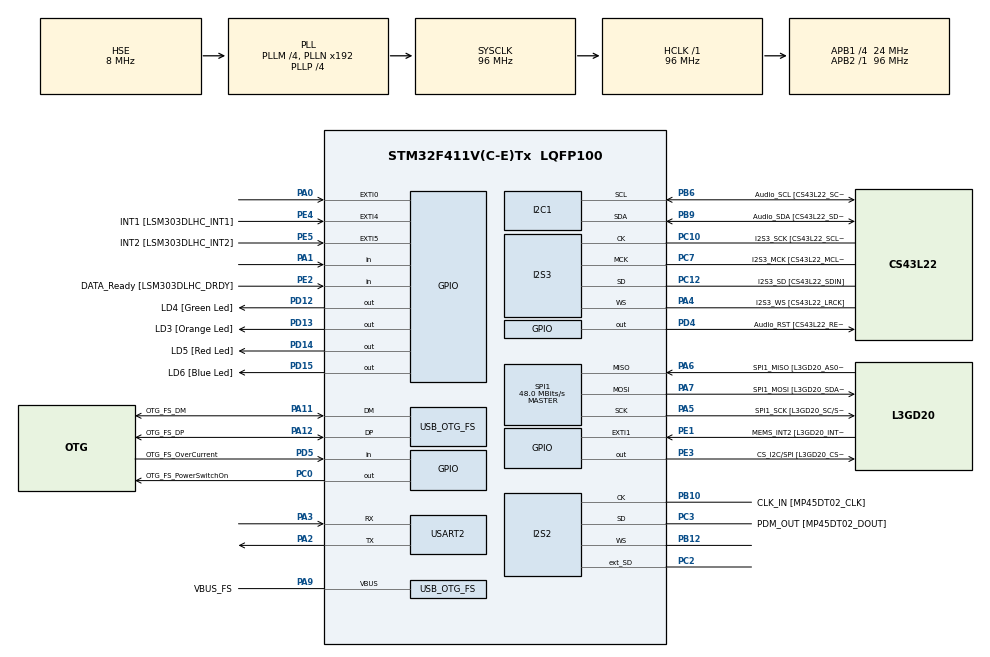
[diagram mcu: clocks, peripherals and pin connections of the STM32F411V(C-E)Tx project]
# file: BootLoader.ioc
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I2S2.AudioFreq=I2S_AUDIOFREQ_96K
I2S2.ErrorAudioFreq=0.15 %
I2S2.FullDuplexMode=I2S_FULLDUPLEXMODE_ENABLE
I2S2.Instance=SPI$Index
I2S2.RealAudioFreq=96.153 KHz
I2S2.VirtualMode=I2S_MODE_MASTER
I2S3.AudioFreq=I2S_AUDIOFREQ_96K
I2S3.ErrorAudioFreq=-6.99 %
I2S3.FullDuplexMode=I2S_FULLDUPLEXMODE_DISABLE
I2S3.Instance=SPI$Index
I2S3.RealAudioFreq=89.285 KHz
I2S3.VirtualMode=I2S_MODE_MASTER
Mcu.Family=STM32F4
Mcu.Name=STM32F411V(C-E)Tx
Mcu.Package=LQFP100
NVIC.OTG_FS_IRQn=true\:0\:0\:false\:false\:true\:true\:true\:true
NVIC.PriorityGroup=NVIC_PRIORITYGROUP_4
NVIC.TIM1_UP_TIM10_IRQn=true\:15\:0\:false\:false\:true\:false\:true\:true
NVIC.TimeBase=TIM1_UP_TIM10_IRQn
NVIC.TimeBaseIP=TIM1
PA0-WKUP.GPIO_ModeDefaultEXTI=GPIO_MODE_EVT_RISING
PA0-WKUP.Signal=GPXTI0
PA1.GPIO_PuPd=GPIO_PULLUP
PA1.Signal=GPIO_Input
PA10.GPIO_Label=OTG_FS_ID
PA10.Signal=USB_OTG_FS_ID
PA11.GPIO_Label=OTG_FS_DM
PA11.Mode=Host_Only
PA11.Signal=USB_OTG_FS_DM
PA12.GPIO_Label=OTG_FS_DP
PA12.Mode=Host_Only
PA12.Signal=USB_OTG_FS_DP
PA13.GPIO_Label=SWDIO
PA13.Mode=Serial_Wire
PA13.Signal=SYS_JTMS-SWDIO
PA14.GPIO_Label=SWCLK
PA14.Mode=Serial_Wire
PA14.Signal=SYS_JTCK-SWCLK
PA2.Mode=Asynchronous
PA2.Signal=USART2_TX
PA3.Mode=Asynchronous
PA3.Signal=USART2_RX
PA4.GPIO_Label=I2S3_WS [CS43L22_LRCK]
PA4.GPIO_Mode=GPIO_MODE_AF_PP
PA4.GPIO_PuPd=GPIO_NOPULL
PA4.GPIO_Speed=GPIO_SPEED_FREQ_LOW
PA4.Mode=Half_Duplex_Master
PA4.Signal=I2S3_WS
PA5.GPIO_Label=SPI1_SCK [L3GD20_SC/SPC]
PA5.Mode=Full_Duplex_Master
PA5.Signal=SPI1_SCK
PA6.GPIO_Label=SPI1_MISO [L3GD20_AS0/SDO]
PA6.Mode=Full_Duplex_Master
PA6.Signal=SPI1_MISO
PA7.GPIO_Label=SPI1_MOSI [L3GD20_SDA/SDI/SDO]
PA7.Mode=Full_Duplex_Master
PA7.Signal=SPI1_MOSI
PA9.GPIO_Label=VBUS_FS
PA9.Mode=Activate_VBUS
PA9.Signal=USB_OTG_FS_VBUS
PB10.GPIO_Label=CLK_IN [MP45DT02_CLK]
PB10.Mode=Full_Duplex_Master
PB10.Signal=I2S2_CK
PB12.Mode=Full_Duplex_Master
PB12.Signal=I2S2_WS
PB3.GPIO_Label=SWO
PB3.Signal=SYS_JTDO-SWO
PB6.GPIO_Label=Audio_SCL [CS43L22_SCL]
PB6.GPIO_Mode=GPIO_MODE_AF_OD
PB6.GPIO_Pu=GPIO_PULLUP
PB6.GPIO_PuPd=GPIO_NOPULL
PB6.GPIO_Speed=GPIO_SPEED_FREQ_LOW
PB6.Mode=I2C
PB6.Signal=I2C1_SCL
PB9.GPIO_Label=Audio_SDA [CS43L22_SDA]
PB9.GPIO_Mode=GPIO_MODE_AF_OD
PB9.GPIO_Pu=GPIO_PULLUP
PB9.GPIO_PuPd=GPIO_NOPULL
PB9.GPIO_Speed=GPIO_SPEED_FREQ_LOW
PB9.Mode=I2C
PB9.Signal=I2C1_SDA
PC0.GPIO_Label=OTG_FS_PowerSwitchOn
PC0.PinState=GPIO_PIN_SET
PC0.Signal=GPIO_Output
PC10.GPIO_Label=I2S3_SCK [CS43L22_SCLK]
PC10.GPIO_Mode=GPIO_MODE_AF_PP
PC10.GPIO_PuPd=GPIO_NOPULL
PC10.GPIO_Speed=GPIO_SPEED_FREQ_LOW
PC10.Mode=Half_Duplex_Master
PC10.Signal=I2S3_CK
PC12.GPIO_Label=I2S3_SD [CS43L22_SDIN]
PC12.GPIO_Mode=GPIO_MODE_AF_PP
PC12.GPIO_PuPd=GPIO_NOPULL
PC12.GPIO_Speed=GPIO_SPEED_FREQ_LOW
PC12.Mode=Half_Duplex_Master
PC12.Signal=I2S3_SD
PC14-OSC32_IN.GPIO_Label=PC14-OSC32_IN
PC14-OSC32_IN.Mode=LSE-External-Oscillator
PC14-OSC32_IN.Signal=RCC_OSC32_IN
PC15-OSC32_OUT.GPIO_Label=PC15-OSC32_OUT
PC15-OSC32_OUT.Mode=LSE-External-Oscillator
PC15-OSC32_OUT.Signal=RCC_OSC32_OUT
PC2.Mode=Full_Duplex_Master
PC2.Signal=I2S2_ext_SD
PC3.GPIO_Label=PDM_OUT [MP45DT02_DOUT]
PC3.Mode=Full_Duplex_Master
PC3.Signal=I2S2_SD
PC7.GPIO_Label=I2S3_MCK [CS43L22_MCLK]
PC7.GPIO_Mode=GPIO_MODE_AF_PP
PC7.GPIO_PuPd=GPIO_NOPULL
PC7.GPIO_Speed=GPIO_SPEED_FREQ_LOW
PC7.Mode=Master_Clock_Activated
PC7.Signal=I2S3_MCK
PD12.GPIO_Label=LD4 [Green Led]
PD12.GPIO_PuPd=GPIO_NOPULL
PD12.GPIO_Speed=GPIO_SPEED_FREQ_LOW
PD12.Signal=GPIO_Output
PD13.GPIO_Label=LD3 [Orange Led]
PD13.GPIO_PuPd=GPIO_NOPULL
PD13.GPIO_Speed=GPIO_SPEED_FREQ_LOW
PD13.Signal=GPIO_Output
PD14.GPIO_Label=LD5 [Red Led]
PD14.GPIO_PuPd=GPIO_NOPULL
PD14.GPIO_Speed=GPIO_SPEED_FREQ_LOW
PD14.Signal=GPIO_Output
PD15.GPIO_Label=LD6 [Blue Led]
PD15.GPIO_PuPd=GPIO_NOPULL
PD15.GPIO_Speed=GPIO_SPEED_FREQ_LOW
PD15.Signal=GPIO_Output
PD4.GPIO_Label=Audio_RST [CS43L22_RESET]
PD4.Signal=GPIO_Output
PD5.GPIO_Label=OTG_FS_OverCurrent
PD5.Signal=GPIO_Input
PE1.GPIO_Label=MEMS_INT2 [L3GD20_INT2]
PE1.GPIO_ModeDefaultEXTI=GPIO_MODE_EVT_RISING
PE1.Signal=GPXTI1
PE2.GPIO_Label=DATA_Ready [LSM303DLHC_DRDY]
PE2.Signal=GPIO_Input
PE3.GPIO_Label=CS_I2C/SPI [L3GD20_CS_I2C/SPI]
PE3.Signal=GPIO_Output
PE4.GPIO_Label=INT1 [LSM303DLHC_INT1]
PE4.GPIO_ModeDefaultEXTI=GPIO_MODE_EVT_RISING
PE4.Signal=GPXTI4
PE5.GPIO_Label=INT2 [LSM303DLHC_INT2]
PE5.GPIO_ModeDefaultEXTI=GPIO_MODE_EVT_RISING
PE5.Signal=GPXTI5
PH0\ -\ OSC_IN.GPIO_Label=PH0-OSC_IN
PH0\ -\ OSC_IN.Mode=HSE-External-Clock-Source
PH0\ -\ OSC_IN.Signal=RCC_OSC_IN
PH1\ -\ OSC_OUT.GPIO_Label=PH1-OSC_OUT
PH1\ -\ OSC_OUT.Mode=HSE-External-Clock-Source
PH1\ -\ OSC_OUT.Signal=RCC_OSC_OUT
ProjectManager.HeapSize=0x200
ProjectManager.StackSize=0x400
ProjectManager.TargetToolchain=STM32CubeIDE
RCC.48MHZClocksFreq_Value=48000000
RCC.AHBFreq_Value=96000000
RCC.APB1CLKDivider=RCC_HCLK_DIV4
RCC.APB1Freq_Value=24000000
RCC.APB1TimFreq_Value=48000000
RCC.APB2Freq_Value=96000000
RCC.APB2TimFreq_Value=96000000
RCC.CortexFreq_Value=96000000
RCC.HCLKFreq_Value=96000000
RCC.HSE_VALUE=8000000
RCC.HSI_VALUE=16000000
RCC.PLLI2SM=5
RCC.PLLI2SN=200
RCC.PLLM=4
RCC.PLLP=RCC_PLLP_DIV4
RCC.PLLQ=8
RCC.SYSCLKFreq_VALUE=96000000
RCC.SYSCLKSource=RCC_SYSCLKSOURCE_PLLCLK
RCC.VCOOutputFreq_Value=384000000
SPI1.BaudRatePrescaler=SPI_BAUDRATEPRESCALER_2
SPI1.CalculateBaudRate=48.0 MBits/s
SPI1.Direction=SPI_DIRECTION_2LINES
SPI1.Mode=SPI_MODE_MASTER
SPI1.VirtualType=VM_MASTER
USART2.VirtualMode=VM_ASYNC
USB_HOST.BSP.number=1
USB_HOST.USBH_HandleTypeDef=hUsbHostFS
USB_HOST.USBH_USE_OS-CDC_FS=0
USB_HOST.VirtualModeFS=Cdc
USB_HOST0.BSP.STBoard=false
USB_HOST0.BSP.api=Unknown
USB_HOST0.BSP.instance=PC0
USB_HOST0.BSP.ip=GPIO
USB_HOST0.BSP.mode=Output
USB_HOST0.BSP.name=Drive_VBUS_FS
USB_HOST0.BSP.solution=PC0
USB_OTG_FS.VirtualMode=Host_Only
USB_OTG_FS.phy_itface=HCD_PHY_EMBEDDED
VP_SYS_VS_tim1.Mode=TIM1
VP_USB_HOST_VS_USB_HOST_CDC_FS.Mode=CDC_FS
board=STM32F411E-DISCO

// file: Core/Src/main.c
/* USER CODE BEGIN Header */
/**
  ******************************************************************************
  * @file           : main.c
  * @brief          : Main program body
  ******************************************************************************
  * @attention
  *
  * Copyright (c) 2025 STMicroelectronics.
  * All rights reserved.
  *
  * This software is licensed under terms that can be found in the LICENSE file
  * in the root directory of this software component.
  * If no LICENSE file comes with this software, it is provided AS-IS.
  *
  ******************************************************************************
  */
/* USER CODE END Header */
#include "main.h"
#include "usb_host.h"

/* USER CODE BEGIN Includes */
#include "stdbool.h"
#include "stdio.h"
/* USER CODE END Includes */

/* USER CODE BEGIN PTD */

typedef void(*func_ptr)(void);
/* USER CODE END PTD */

/* USER CODE BEGIN PD */
#define SECTOR0_BASE_ADDRESS 0x08000000/* BootLoader Sector*/
#define SECTOR1_BASE_ADDRESS 0x08004000/* Default Application Sector*/
#define SECTOR2_BASE_ADDRESS 0x08008000/* Factory Application Sector*/
#define SECTOR3_BASE_ADDRESS 0x0800C000/* EXPAND Application Sector*/

#define BOOTLOADER_APP_ADDRESS SECTOR0_BASE_ADDRESS
#define DEFAULT_APP_ADDRESS    SECTOR1_BASE_ADDRESS
#define FACTORY_APP_ADDRESS    SECTOR2_BASE_ADDRESS
#define EXPAND_APP_ADDRESS    SECTOR3_BASE_ADDRESS

#define MSP_VERIFY_MASK 0x2FFE0000 /* main stack pointer mask */

#define BUTTON_USER_Pin GPIO_PIN_1
#define BUTTON_USER_GPIO_Port GPIOA
/* USER CODE END PD */

I2C_HandleTypeDef hi2c1;

I2S_HandleTypeDef hi2s2;
I2S_HandleTypeDef hi2s3;

SPI_HandleTypeDef hspi1;

UART_HandleTypeDef huart2;

/* USER CODE BEGIN PV */
unsigned char g_key;
/* USER CODE END PV */

void SystemClock_Config(void);
void PeriphCommonClock_Config(void);
static void MX_GPIO_Init(void);
static void MX_I2C1_Init(void);
static void MX_I2S2_Init(void);
static void MX_I2S3_Init(void);
static void MX_SPI1_Init(void);
static void MX_USART2_UART_Init(void);
void MX_USB_HOST_Process(void);

/* USER CODE BEGIN 0 */
static bool get_button_state(void);
static void jump_to_app(uint32_t address);
static void process_btldr_cmds(char key);
/* USER CODE END 0 */

int main(void)
{

  /* MCU Configuration--------------------------------------------------------*/

  /* Reset of all peripherals, Initializes the Flash interface and the Systick. */
  HAL_Init();

  /* Configure the system clock */
  SystemClock_Config();

  /* Configure the peripherals common clocks */
  PeriphCommonClock_Config();

  /* Initialize all configured peripherals */
  MX_GPIO_Init();
  MX_I2C1_Init();
  MX_I2S2_Init();
  MX_I2S3_Init();
  MX_SPI1_Init();
  MX_USB_HOST_Init();
  MX_USART2_UART_Init();
  /* USER CODE BEGIN 2 */
  if(get_button_state()){
		//button is pressed
		printf("DBG: button is pressed");

		printf("===========================\n");
		printf("===========================\n");
		printf("===========================\n");
		printf("===========================\n");

		printf("===========================\n");
		printf("\n");
		printf("BootLoader Menu\n");
		printf("\n");
		printf("===========================\n");
		printf("===========================\n");
		printf("===========================\n");

		printf("Available commands: \n");
		printf("f ==> Factory App");
		printf("Any Key ==> run Default App");

		while(1){
			process_btldr_cmds(g_key);
		}
  }else {
	  //button isn't pressed
	  jump_to_app(DEFAULT_APP_ADDRESS);
  }
  /* USER CODE END 2 */

  /* Infinite loop */
  while (1)
  {
    MX_USB_HOST_Process();

  }
}

void SystemClock_Config(void)
{
  RCC_OscInitTypeDef RCC_OscInitStruct = {0};
  RCC_ClkInitTypeDef RCC_ClkInitStruct = {0};

  /** Configure the main internal regulator output voltage
  */
  __HAL_RCC_PWR_CLK_ENABLE();
  __HAL_PWR_VOLTAGESCALING_CONFIG(PWR_REGULATOR_VOLTAGE_SCALE1);

  /** Initializes the RCC Oscillators according to the specified parameters
  * in the RCC_OscInitTypeDef structure.
  */
  RCC_OscInitStruct.OscillatorType = RCC_OSCILLATORTYPE_HSE;
  RCC_OscInitStruct.HSEState = RCC_HSE_BYPASS;
  RCC_OscInitStruct.PLL.PLLState = RCC_PLL_ON;
  RCC_OscInitStruct.PLL.PLLSource = RCC_PLLSOURCE_HSE;
  RCC_OscInitStruct.PLL.PLLM = 4;
  RCC_OscInitStruct.PLL.PLLN = 192;
  RCC_OscInitStruct.PLL.PLLP = RCC_PLLP_DIV4;
  RCC_OscInitStruct.PLL.PLLQ = 8;
  if (HAL_RCC_OscConfig(&RCC_OscInitStruct) != HAL_OK)
  {
    Error_Handler();
  }

  /** Initializes the CPU, AHB and APB buses clocks
  */
  RCC_ClkInitStruct.ClockType = RCC_CLOCKTYPE_HCLK|RCC_CLOCKTYPE_SYSCLK
                              |RCC_CLOCKTYPE_PCLK1|RCC_CLOCKTYPE_PCLK2;
  RCC_ClkInitStruct.SYSCLKSource = RCC_SYSCLKSOURCE_PLLCLK;
  RCC_ClkInitStruct.AHBCLKDivider = RCC_SYSCLK_DIV1;
  RCC_ClkInitStruct.APB1CLKDivider = RCC_HCLK_DIV4;
  RCC_ClkInitStruct.APB2CLKDivider = RCC_HCLK_DIV1;

  if (HAL_RCC_ClockConfig(&RCC_ClkInitStruct, FLASH_LATENCY_3) != HAL_OK)
  {
    Error_Handler();
  }
}

void PeriphCommonClock_Config(void)
{
  RCC_PeriphCLKInitTypeDef PeriphClkInitStruct = {0};

  /** Initializes the peripherals clock
  */
  PeriphClkInitStruct.PeriphClockSelection = RCC_PERIPHCLK_I2S;
  PeriphClkInitStruct.PLLI2S.PLLI2SN = 200;
  PeriphClkInitStruct.PLLI2S.PLLI2SM = 5;
  PeriphClkInitStruct.PLLI2S.PLLI2SR = 2;
  if (HAL_RCCEx_PeriphCLKConfig(&PeriphClkInitStruct) != HAL_OK)
  {
    Error_Handler();
  }
}

static void MX_I2C1_Init(void)
{

  hi2c1.Instance = I2C1;
  hi2c1.Init.ClockSpeed = 100000;
  hi2c1.Init.DutyCycle = I2C_DUTYCYCLE_2;
  hi2c1.Init.OwnAddress1 = 0;
  hi2c1.Init.AddressingMode = I2C_ADDRESSINGMODE_7BIT;
  hi2c1.Init.DualAddressMode = I2C_DUALADDRESS_DISABLE;
  hi2c1.Init.OwnAddress2 = 0;
  hi2c1.Init.GeneralCallMode = I2C_GENERALCALL_DISABLE;
  hi2c1.Init.NoStretchMode = I2C_NOSTRETCH_DISABLE;
  if (HAL_I2C_Init(&hi2c1) != HAL_OK)
  {
    Error_Handler();
  }

}

static void MX_I2S2_Init(void)
{

  hi2s2.Instance = SPI2;
  hi2s2.Init.Mode = I2S_MODE_MASTER_TX;
  hi2s2.Init.Standard = I2S_STANDARD_PHILIPS;
  hi2s2.Init.DataFormat = I2S_DATAFORMAT_16B;
  hi2s2.Init.MCLKOutput = I2S_MCLKOUTPUT_DISABLE;
  hi2s2.Init.AudioFreq = I2S_AUDIOFREQ_96K;
  hi2s2.Init.CPOL = I2S_CPOL_LOW;
  hi2s2.Init.ClockSource = I2S_CLOCK_PLL;
  hi2s2.Init.FullDuplexMode = I2S_FULLDUPLEXMODE_ENABLE;
  if (HAL_I2S_Init(&hi2s2) != HAL_OK)
  {
    Error_Handler();
  }

}

static void MX_I2S3_Init(void)
{

  hi2s3.Instance = SPI3;
  hi2s3.Init.Mode = I2S_MODE_MASTER_TX;
  hi2s3.Init.Standard = I2S_STANDARD_PHILIPS;
  hi2s3.Init.DataFormat = I2S_DATAFORMAT_16B;
  hi2s3.Init.MCLKOutput = I2S_MCLKOUTPUT_ENABLE;
  hi2s3.Init.AudioFreq = I2S_AUDIOFREQ_96K;
  hi2s3.Init.CPOL = I2S_CPOL_LOW;
  hi2s3.Init.ClockSource = I2S_CLOCK_PLL;
  hi2s3.Init.FullDuplexMode = I2S_FULLDUPLEXMODE_DISABLE;
  if (HAL_I2S_Init(&hi2s3) != HAL_OK)
  {
    Error_Handler();
  }

}

static void MX_SPI1_Init(void)
{

  /* SPI1 parameter configuration*/
  hspi1.Instance = SPI1;
  hspi1.Init.Mode = SPI_MODE_MASTER;
  hspi1.Init.Direction = SPI_DIRECTION_2LINES;
  hspi1.Init.DataSize = SPI_DATASIZE_8BIT;
  hspi1.Init.CLKPolarity = SPI_POLARITY_LOW;
  hspi1.Init.CLKPhase = SPI_PHASE_1EDGE;
  hspi1.Init.NSS = SPI_NSS_SOFT;
  hspi1.Init.BaudRatePrescaler = SPI_BAUDRATEPRESCALER_2;
  hspi1.Init.FirstBit = SPI_FIRSTBIT_MSB;
  hspi1.Init.TIMode = SPI_TIMODE_DISABLE;
  hspi1.Init.CRCCalculation = SPI_CRCCALCULATION_DISABLE;
  hspi1.Init.CRCPolynomial = 10;
  if (HAL_SPI_Init(&hspi1) != HAL_OK)
  {
    Error_Handler();
  }

}

static void MX_USART2_UART_Init(void)
{

  huart2.Instance = USART2;
  huart2.Init.BaudRate = 115200;
  huart2.Init.WordLength = UART_WORDLENGTH_8B;
  huart2.Init.StopBits = UART_STOPBITS_1;
  huart2.Init.Parity = UART_PARITY_NONE;
  huart2.Init.Mode = UART_MODE_TX_RX;
  huart2.Init.HwFlowCtl = UART_HWCONTROL_NONE;
  huart2.Init.OverSampling = UART_OVERSAMPLING_16;
  if (HAL_UART_Init(&huart2) != HAL_OK)
  {
    Error_Handler();
  }

}

static void MX_GPIO_Init(void)
{
  GPIO_InitTypeDef GPIO_InitStruct = {0};

  /* GPIO Ports Clock Enable */
  __HAL_RCC_GPIOE_CLK_ENABLE();
  __HAL_RCC_GPIOC_CLK_ENABLE();
  __HAL_RCC_GPIOH_CLK_ENABLE();
  __HAL_RCC_GPIOA_CLK_ENABLE();
  __HAL_RCC_GPIOB_CLK_ENABLE();
  __HAL_RCC_GPIOD_CLK_ENABLE();

  /*Configure GPIO pin Output Level */
  HAL_GPIO_WritePin(CS_I2C_SPI_GPIO_Port, CS_I2C_SPI_Pin, GPIO_PIN_RESET);

  /*Configure GPIO pin Output Level */
  HAL_GPIO_WritePin(OTG_FS_PowerSwitchOn_GPIO_Port, OTG_FS_PowerSwitchOn_Pin, GPIO_PIN_SET);

  /*Configure GPIO pin Output Level */
  HAL_GPIO_WritePin(GPIOD, LD4_Pin|LD3_Pin|LD5_Pin|LD6_Pin
                          |Audio_RST_Pin, GPIO_PIN_RESET);

  /*Configure GPIO pin : DATA_Ready_Pin */
  GPIO_InitStruct.Pin = DATA_Ready_Pin;
  GPIO_InitStruct.Mode = GPIO_MODE_INPUT;
  GPIO_InitStruct.Pull = GPIO_NOPULL;
  HAL_GPIO_Init(DATA_Ready_GPIO_Port, &GPIO_InitStruct);

  /*Configure GPIO pin : CS_I2C_SPI_Pin */
  GPIO_InitStruct.Pin = CS_I2C_SPI_Pin;
  GPIO_InitStruct.Mode = GPIO_MODE_OUTPUT_PP;
  GPIO_InitStruct.Pull = GPIO_NOPULL;
  GPIO_InitStruct.Speed = GPIO_SPEED_FREQ_LOW;
  HAL_GPIO_Init(CS_I2C_SPI_GPIO_Port, &GPIO_InitStruct);

  /*Configure GPIO pins : INT1_Pin INT2_Pin MEMS_INT2_Pin */
  GPIO_InitStruct.Pin = INT1_Pin|INT2_Pin|MEMS_INT2_Pin;
  GPIO_InitStruct.Mode = GPIO_MODE_EVT_RISING;
  GPIO_InitStruct.Pull = GPIO_NOPULL;
  HAL_GPIO_Init(GPIOE, &GPIO_InitStruct);

  /*Configure GPIO pin : OTG_FS_PowerSwitchOn_Pin */
  GPIO_InitStruct.Pin = OTG_FS_PowerSwitchOn_Pin;
  GPIO_InitStruct.Mode = GPIO_MODE_OUTPUT_PP;
  GPIO_InitStruct.Pull = GPIO_NOPULL;
  GPIO_InitStruct.Speed = GPIO_SPEED_FREQ_LOW;
  HAL_GPIO_Init(OTG_FS_PowerSwitchOn_GPIO_Port, &GPIO_InitStruct);

  /*Configure GPIO pin : PA0 */
  GPIO_InitStruct.Pin = GPIO_PIN_0;
  GPIO_InitStruct.Mode = GPIO_MODE_EVT_RISING;
  GPIO_InitStruct.Pull = GPIO_NOPULL;
  HAL_GPIO_Init(GPIOA, &GPIO_InitStruct);

  /*Configure GPIO pin : PA1 */
  GPIO_InitStruct.Pin = GPIO_PIN_1;
  GPIO_InitStruct.Mode = GPIO_MODE_INPUT;
  GPIO_InitStruct.Pull = GPIO_PULLUP;
  HAL_GPIO_Init(GPIOA, &GPIO_InitStruct);

  /*Configure GPIO pins : LD4_Pin LD3_Pin LD5_Pin LD6_Pin
                           Audio_RST_Pin */
  GPIO_InitStruct.Pin = LD4_Pin|LD3_Pin|LD5_Pin|LD6_Pin
                          |Audio_RST_Pin;
  GPIO_InitStruct.Mode = GPIO_MODE_OUTPUT_PP;
  GPIO_InitStruct.Pull = GPIO_NOPULL;
  GPIO_InitStruct.Speed = GPIO_SPEED_FREQ_LOW;
  HAL_GPIO_Init(GPIOD, &GPIO_InitStruct);

  /*Configure GPIO pin : OTG_FS_OverCurrent_Pin */
  GPIO_InitStruct.Pin = OTG_FS_OverCurrent_Pin;
  GPIO_InitStruct.Mode = GPIO_MODE_INPUT;
  GPIO_InitStruct.Pull = GPIO_NOPULL;
  HAL_GPIO_Init(OTG_FS_OverCurrent_GPIO_Port, &GPIO_InitStruct);

}

/* USER CODE BEGIN 4 */
bool get_button_state(void){
	return HAL_GPIO_ReadPin(BUTTON_USER_GPIO_Port, BUTTON_USER_Pin) == GPIO_PIN_RESET;//pin config: pull up
}

void jump_to_app(uint32_t address){
	uint32_t app_start_address;
	func_ptr jump_to_app_ptr;

	printf("Boot loader started \n");
	HAL_Delay(300);

    if(((*(uint32_t*)address & MSP_VERIFY_MASK) == 0x20020000) && (*(uint32_t*)address != 0xFFFFFFFF))
	{
	    printf("Starting Application\n");
	    app_start_address = *(uint32_t*) (address + 4);
	    jump_to_app_ptr = (func_ptr)(app_start_address);

	    /* initialize main stack pointer */
	    __set_MSP(*(uint32_t*)address);

	    /* jump */
	    jump_to_app_ptr();
    }else {
    	printf("No Application Found!!!\n");
    }
}

void process_btldr_cmds(char key){
	switch(key){
		case 'f':
			printf("Factory App selected\n");
			jump_to_app(FACTORY_APP_ADDRESS);
			break;
		case 'E':
			printf("Expand App selected\n");
			jump_to_app(EXPAND_APP_ADDRESS);
			break;
		default :
			jump_to_app(DEFAULT_APP_ADDRESS);
	}
}

void HAL_UART_RxCpltCallback(UART_HandleTypeDef *huart){
	HAL_UART_Receive_IT(huart, &g_key, 1);
}

/* USER CODE END 4 */

void HAL_TIM_PeriodElapsedCallback(TIM_HandleTypeDef *htim)
{
  if (htim->Instance == TIM1)
  {
    HAL_IncTick();
  }
}

void Error_Handler(void)
{
  __disable_irq();
  while (1)
  {
  }
}
